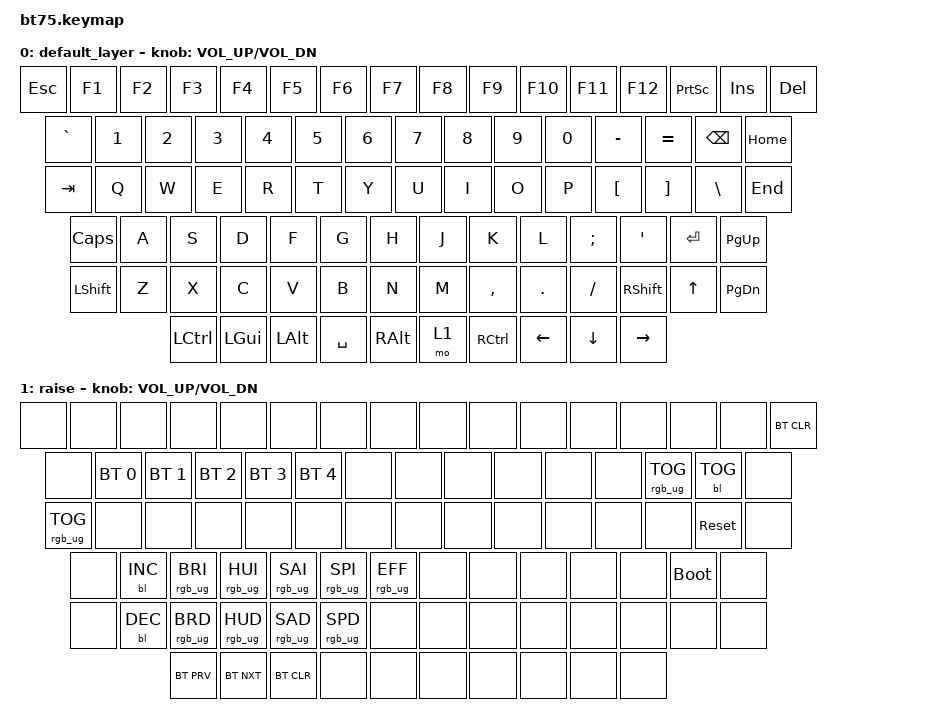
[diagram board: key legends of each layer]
#include <behaviors.dtsi>
#include <dt-bindings/zmk/keys.h>
#include <dt-bindings/zmk/bt.h>
#include <dt-bindings/zmk/rgb.h>
#include <dt-bindings/zmk/backlight.h>
#include <dt-bindings/zmk/ext_power.h>


/ {
	keymap {
		compatible = "zmk,keymap";
		default_layer {
				// ------------------------------------------------------------------------------------------------------------
				// | ESC | F1  | F2  | F3  | F4  | F5  | F6  | F7  | F9  | F9  | F10 | F11 | F12 | PSCRN | INS | DEL	|
				// |  `  |  1  |  2  |  3  |  4  |  5  |  6  |  7  |  8  |  9  |  0  |  -  |  =  |   BKSP   | HOME	|
				// | TAB  |  Q  |  W  |  E  |  R  |  T  |  Y  |  U  |  I  |  O  |  P  |  [  |  ]  |    \    | PG UP |
				// | CAPS  |  A  |  S  |  D  |  F  |  G  |  H  |  J  |  K  |  L  |  ;  |  '  |     ENTER     | PG DN |
				// |  SHIFT    |  Z  |  X  |  C  |  V  |  B  |  N  |  M  |  ,  |  .  | /   |    SHIFT |  UP  |  END  |
				// |  CTL  |  WIN  |  ALT  |            SPACE               | ALT | 1  | CTRL |  LEFT | DOWN | RIGHT |
				// ------------------------------------------------------------------------------------------------------------
			bindings = <
				&kp ESC &kp F1 &kp F2 &kp F3 &kp F4 &kp F5 &kp F6 &kp F7 &kp  F8   &kp  F9 &kp  F10  &kp F11 &kp F12   &kp PSCRN &kp INS &kp DEL
				&kp GRAVE &kp N1 &kp N2 &kp N3 &kp N4 &kp N5 &kp N6 &kp N7 &kp  N8   &kp  N9   &kp N0 &kp MINUS &kp EQUAL &kp BKSP &kp HOME
				&kp TAB  &kp Q  &kp W  &kp E  &kp R  &kp T  &kp Y  &kp U  &kp  I    &kp  O  &kp  P   &kp LBKT &kp RBKT  	&kp BSLH &kp END
				&kp CLCK  &kp A  &kp S  &kp D  &kp F  &kp G  &kp H  &kp J  &kp  K    &kp  L  &kp SEMI &kp SQT           	&kp RET &kp PG_UP
				&kp LSHFT  &kp Z  &kp X  &kp C  &kp V  &kp B  &kp N  &kp M  &kp COMMA &kp DOT &kp FSLH              &kp RSHFT &kp UP &kp PG_DN
				&kp LCTRL &kp LGUI &kp LALT            &kp SPACE                          &kp RALT  &mo 1 &kp RCTRL &kp LEFT &kp DOWN &kp RIGHT
			>;
			sensor-bindings = <&inc_dec_kp C_VOL_UP C_VOL_DN>;
		};
		raise {
			bindings = <
				&none &none &none &none &none &none &none &none &none &none &none &none &none &none &none &bt BT_CLR
				&none &bt BT_SEL 0 &bt BT_SEL 1 &bt BT_SEL 2 &bt BT_SEL 3 &bt BT_SEL 4 &none &none &none &none &none &none &rgb_ug RGB_TOG &bl BL_TOG &none
				&rgb_ug RGB_TOG &none &none &none &none &none &none &none &none &none &none &none &none &sys_reset &none
				&none &bl BL_INC &rgb_ug RGB_BRI &rgb_ug RGB_HUI &rgb_ug RGB_SAI &rgb_ug RGB_SPI &rgb_ug RGB_EFF &none &none &none &none &none &bootloader &none
				&none &bl BL_DEC &rgb_ug RGB_BRD &rgb_ug RGB_HUD &rgb_ug RGB_SAD &rgb_ug RGB_SPD &none &none &none &none &none &none &none &none
				&bt BT_PRV &bt BT_NXT &bt BT_CLR &none &none &none &none &none &none &none
			>;
			sensor-bindings = <&inc_dec_kp C_VOL_UP C_VOL_DN>;
		};
	};
};
